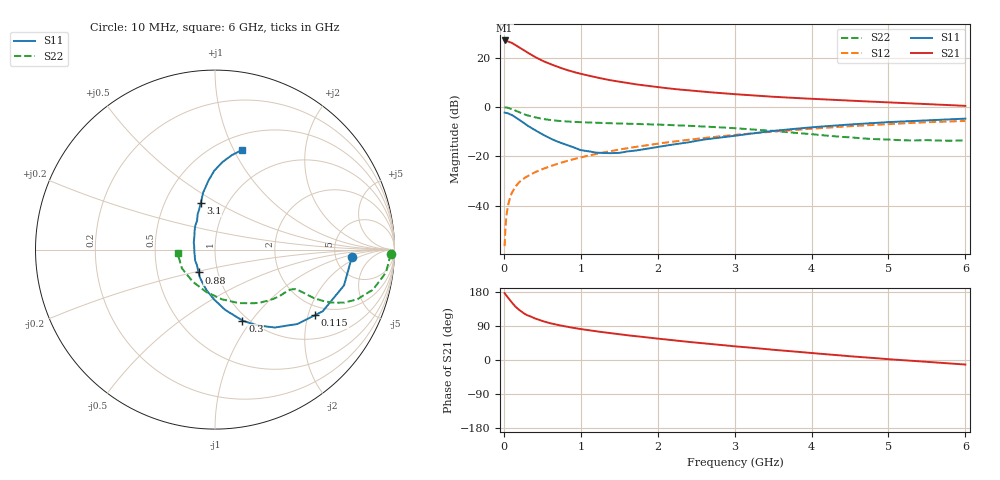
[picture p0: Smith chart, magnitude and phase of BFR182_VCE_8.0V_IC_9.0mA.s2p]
! Infineon Technologies  Discrete & RF Semiconductors
! BFR182
! VCE =  8.0 V,  IC =  9.0 mA
! Common Emitter S-Parameters:  Nov 2015
# GHz  S  MA  R  50
!  f  S11  S21  S12  S22
! GHz  MAG  ANG  MAG  ANG  MAG  ANG  MAG  ANG
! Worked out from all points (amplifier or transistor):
!   210 points, 10 MHz to 6 GHz, reference 50 ohm
!   highest |S21| = 26.9 dB at 10 MHz (marker M1)
!   |S21| within 3 dB of that: start of sweep to 210 MHz
!   unconditionally stable (mu >= 1): 875.7 MHz to 2.804 GHz
!   at 185 MHz: K = 0.46, MSG = 27.7 dB, |S12| = -31.1 dB
!   at 1.52 GHz: K = 1.05, MAG = 12.3 dB, |S12| = -17.2 dB
!   at 6 GHz: K = 0.89, MSG = 3.1 dB, |S12| = -5.7 dB
!   S11 on the Smith chart (normalised r, x): 10 MHz: 7.15, -1.46; 115 MHz: 1.69, -2.22; 300 MHz: 0.94, -0.90; 880 MHz: 0.81, -0.21; 3.1 GHz: 0.75, +0.42; 6 GHz: 0.65, +1.08
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0.01  0.7633 -3.2  22.18 176.4  0.0015 90.0  0.9818 -1.5
0.025  0.753 -7.7  21.76 172.1  0.0044 83.6  0.9706 -3.9
0.05  0.746 -15.5  21.33 165.5  0.0092 81.5  0.9611 -7.6
0.1  0.6915 -29.8  20.01 152.6  0.0175 76.0  0.9085 -14.2
0.115  0.6665 -33.2  19.31 149.3  0.0194 74.0  0.8873 -15.6
0.15  0.6185 -42.1  17.95 140.8  0.0239 70.6  0.8402 -19.2
0.2  0.5478 -52.4  16.07 132.1  0.0297 69.2  0.7788 -22.3
0.26  0.4679 -62.8  14.01 123.2  0.0353 66.5  0.7134 -24.4
0.3  0.4235 -68.9  12.76 118.5  0.0386 66.5  0.676 -25.3
0.4  0.3403 -80.5  10.36 110.0  0.0469 65.0  0.6147 -26.1
0.5  0.2776 -91.1  8.601 102.7  0.0545 66.0  0.5707 -26.1
0.6  0.2302 -102.0  7.402 97.1  0.0623 66.4  0.5409 -26.0
0.7  0.1968 -110.9  6.469 92.5  0.0701 67.1  0.5212 -26.0
0.88  0.1568 -125.8  5.24 85.7  0.0849 67.0  0.4991 -26.2
1.02  0.1311 -141.4  4.596 81.1  0.0962 67.1  0.4878 -26.9
1.4  0.1154 177.2  3.431 70.6  0.1277 66.5  0.4656 -29.9
1.7  0.1292 154.3  2.883 63.2  0.1533 64.8  0.4518 -33.1
2.02  0.1554 137.1  2.489 56.0  0.1814 62.6  0.4367 -37.3
3.1  0.2719 107.0  1.764 34.5  0.2787 53.4  0.3598 -56.1
4.1  0.3957 94.4  1.431 16.7  0.3696 42.8  0.2697 -85.4
5.1  0.499 83.9  1.214 0.8  0.456 31.0  0.213 -129.5
6  0.5767 74.7  1.048 -12.0  0.5182 18.9  0.2096 -174.5
